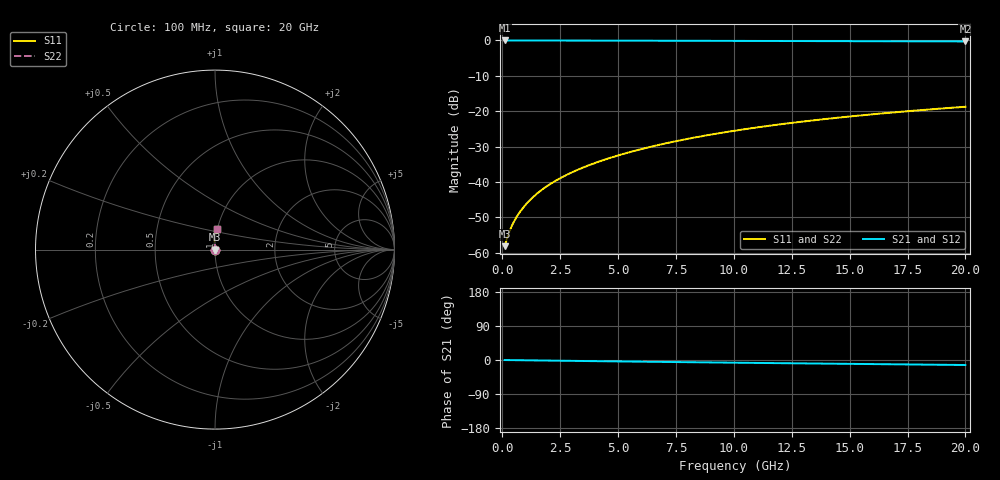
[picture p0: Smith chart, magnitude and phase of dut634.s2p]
! Touchstone file exported from HFSS 2024.1.0
!  File:  C:/UserFiles/LocalFiles/RDL_TSV_Batchsim/temp_RDL_top_634_1779780705.aedt
!  Generated:  03:33:32 PM May 26, 2026
!  Design:  RDL_top
!  Project:  temp_RDL_top_634_1779780705
!  Setup:  Setup1
!  Solution:  Sweep
! Variables:
!  dtsv = 10.80580581um
!  hbump = 3um
!  htsv = 96.78um
!  ldown = 100um
!  lrdl = 190.03um
!  p = 40
!  p1 = 40.7um
!  rhole = 1um
!  t = 450um
!  tdown = 3.915915916um
!  trdl = 3.16um
!  wdown = 15.38538539um
!  wrdl = 25.35um
# GHz S MA R 50.000000
! Terminal data exported
! Port[1] = Box2_T1
! Port[2] = Box2_T2
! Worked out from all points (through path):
!   200 points, 100 MHz to 20 GHz, reference 50 ohm
!   highest |S21| = -0.01 dB at 100 MHz (marker M1); lowest = -0.3 dB at 20 GHz (marker M2)
!   group delay of S21, straight-line fit = 1.81 ps
!   lowest |S11| = -58.1 dB at 100 MHz (marker M3), VSWR 1.00, Z = 50.1 + j0.0543 ohm
!   |S11| at or under -10 dB: start of sweep to end of sweep
!   |S22| runs from -58.1 to -18.7 dB; largest |S21 - S12| = 4e-15
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0.1  0.00124 25.9  0.9989 -0.1  0.9989 -0.1  0.00124 25.9
! Gamma 0 0 0 0
! Port Impedance 50 0 50 0
0.3  0.001963 50.9  0.9987 -0.2  0.9987 -0.2  0.001963 50.9
0.4  0.002354 56.8  0.9986 -0.3  0.9986 -0.3  0.002354 56.8
0.5  0.002744 61.1  0.9986 -0.4  0.9986 -0.4  0.002744 61.1
0.6  0.003135 64.6  0.9985 -0.5  0.9985 -0.5  0.003135 64.6
0.8  0.003929 69.8  0.9984 -0.6  0.9984 -0.6  0.003929 69.8
1  0.004742 73.6  0.9983 -0.8  0.9983 -0.8  0.004742 73.6
1.2  0.005575 76.5  0.9982 -0.9  0.9982 -0.9  0.005575 76.5
1.7  0.007721 81.4  0.9978 -1.3  0.9978 -1.3  0.007721 81.4
2.2  0.009945 84.5  0.9973 -1.7  0.9973 -1.7  0.009946 84.5
2.8  0.01271 87.1  0.9966 -2.2  0.9966 -2.2  0.01271 87.1
3.5  0.01606 89.1  0.9957 -2.7  0.9957 -2.7  0.01606 89.1
4.2  0.01955 90.6  0.9946 -3.2  0.9946 -3.2  0.01955 90.6
5  0.02371 91.7  0.9932 -3.8  0.9932 -3.8  0.02371 91.7
5.9  0.02859 92.4  0.9916 -4.4  0.9916 -4.4  0.02859 92.4
6.8  0.03366 92.8  0.9898 -5.0  0.9898 -5.0  0.03366 92.8
8.4  0.04306 92.8  0.9867 -6.1  0.9867 -6.1  0.04306 92.8
10.1  0.05343 92.1  0.9835 -7.2  0.9835 -7.2  0.05343 92.1
11.7  0.0634 91.1  0.9807 -8.2  0.9807 -8.2  0.06341 91.1
13.4  0.07411 89.9  0.9778 -9.2  0.9778 -9.2  0.07412 89.9
16.7  0.09495 87.3  0.9726 -11.2  0.9726 -11.2  0.09496 87.3
20  0.1156 84.6  0.9678 -13.2  0.9678 -13.2  0.1156 84.6
